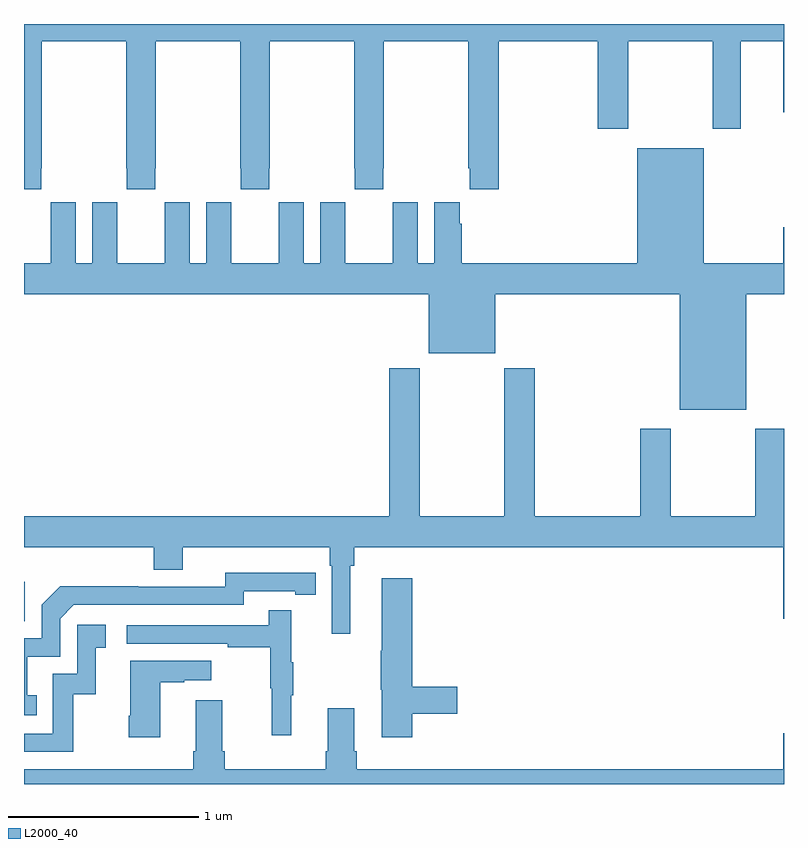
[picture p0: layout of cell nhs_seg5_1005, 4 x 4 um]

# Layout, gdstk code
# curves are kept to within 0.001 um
import gdstk
lib = gdstk.Library(unit=1e-6, precision=1e-09)
def R(c, l, rs):  # rectangles x0, y0, x1, y1
    for r in rs: c.add(gdstk.rectangle(r[:2], r[2:], *l))
def P(c, l, *ps):  # polygons
    for p in ps: c.add(gdstk.Polygon(p, *l))
L2000_40 = (2000, 40)

nhs_seg5_1005 = lib.new_cell('nhs_seg5_1005')
R(nhs_seg5_1005, L2000_40, [(173,905.655,173.004,905.863)])
P(nhs_seg5_1005, L2000_40, [(173.091,908.041),(173.094,908.041),(173.094,908.708),(173.539,908.708),(173.539,908.041),(173.541,908.041),(173.541,907.929),(173.691,907.929),(173.691,908.041),(173.694,908.041),(173.694,908.708),(174.139,908.708),(174.139,908.041),(174.141,908.041),(174.141,907.929),(174.291,907.929),(174.291,908.041),(174.294,908.041),(174.294,908.708),(174.739,908.708),(174.739,908.041),(174.741,908.041),(174.741,907.929),(174.891,907.929),(174.891,908.041),(174.894,908.041),(174.894,908.708),(175.339,908.708),(175.339,908.041),(175.345,908.041),(175.345,907.929),(175.499,907.929),(175.499,908.708),(176.021,908.708),(176.021,908.247),(176.181,908.247),(176.181,908.708),(176.626,908.708),(176.626,908.247),(176.773,908.247),(176.773,908.708),(176.996,908.708),(176.996,908.334),(177,908.334),(177,908.799),(173,908.799),(173,907.929),(173.091,907.929)],
  [(176.8,907.376),(177,907.376),(177,907.729),(176.996,907.729),(176.996,907.54),(176.578,907.54),(176.578,908.146),(176.228,908.146),(176.228,907.54),(175.304,907.54),(175.304,907.748),(175.294,907.748),(175.294,907.861),(175.16,907.861),(175.16,907.54),(175.072,907.54),(175.072,907.861),(174.942,907.861),(174.942,907.748),(174.941,907.748),(174.941,907.54),(174.691,907.54),(174.691,907.748),(174.69,907.748),(174.69,907.861),(174.56,907.861),(174.56,907.54),(174.472,907.54),(174.472,907.861),(174.342,907.861),(174.342,907.748),(174.341,907.748),(174.341,907.54),(174.091,907.54),(174.091,907.748),(174.09,907.748),(174.09,907.861),(173.96,907.861),(173.96,907.54),(173.872,907.54),(173.872,907.861),(173.742,907.861),(173.742,907.748),(173.741,907.748),(173.741,907.54),(173.491,907.54),(173.491,907.748),(173.49,907.748),(173.49,907.861),(173.36,907.861),(173.36,907.54),(173.272,907.54),(173.272,907.861),(173.142,907.861),(173.142,907.748),(173.141,907.748),(173.141,907.54),(173,907.54),(173,907.376),(175.13,907.376),(175.13,907.067),(175.48,907.067),(175.48,907.376),(176.45,907.376),(176.45,906.77),(176.8,906.77)],
  [(174.718,905.948),(174.737,905.948),(174.737,906.044),(176.996,906.044),(176.996,905.67),(177,905.67),(177,906.67),(176.848,906.67),(176.848,906.208),(176.403,906.208),(176.403,906.67),(176.243,906.67),(176.243,906.208),(175.688,906.208),(175.688,906.988),(175.528,906.988),(175.528,906.208),(175.083,906.208),(175.083,906.988),(174.923,906.988),(174.923,906.208),(173,906.208),(173,906.044),(173.684,906.044),(173.684,905.927),(173.836,905.927),(173.836,906.044),(174.608,906.044),(174.608,905.948),(174.621,905.948),(174.621,905.589),(174.718,905.589)],
  [(173.066,905.265),(173.017,905.265),(173.017,905.469),(173.19,905.469),(173.19,905.67),(173.262,905.742),(174.156,905.742),(174.156,905.814),(174.428,905.814),(174.428,905.794),(174.536,905.794),(174.536,905.91),(174.06,905.911),(174.06,905.838),(173.6,905.838),(173.6,905.84),(173.192,905.84),(173.094,905.742),(173.094,905.565),(173,905.565),(173,905.16),(173.066,905.16)],
  [(175.043,905.17),(175.279,905.17),(175.279,905.312),(175.043,905.312),(175.043,905.881),(174.884,905.881),(174.884,905.501),(174.877,905.501),(174.877,905.295),(174.884,905.295),(174.884,905.046),(175.043,905.046)],
  [(174.407,905.267),(174.418,905.267),(174.418,905.441),(174.407,905.441),(174.407,905.713),(174.289,905.713),(174.289,905.634),(173.541,905.634),(173.541,905.538),(174.073,905.538),(174.073,905.518),(174.297,905.518),(174.297,905.304),(174.304,905.304),(174.304,905.055),(174.407,905.055)],
  [(173.26,905.271),(173.378,905.271),(173.378,905.517),(173.431,905.517),(173.431,905.638),(173.28,905.638),(173.28,905.379),(173.151,905.379),(173.151,905.064),(173,905.064),(173,904.968),(173.26,904.968)],
  [(173.716,905.335),(173.843,905.335),(173.843,905.345),(173.986,905.345),(173.986,905.449),(173.558,905.449),(173.558,905.158),(173.551,905.158),(173.551,905.046),(173.716,905.046)],
  [(177,905.065),(176.996,905.065),(176.996,904.876),(174.752,904.876),(174.752,904.972),(174.739,904.972),(174.739,905.197),(174.599,905.197),(174.599,904.972),(174.587,904.972),(174.587,904.876),(174.056,904.876),(174.056,904.972),(174.043,904.972),(174.043,905.239),(173.903,905.239),(173.903,904.972),(173.891,904.972),(173.891,904.876),(173,904.876),(173,904.799),(177,904.799)])

lib.write_gds('nhs_seg5_1005.gds')
